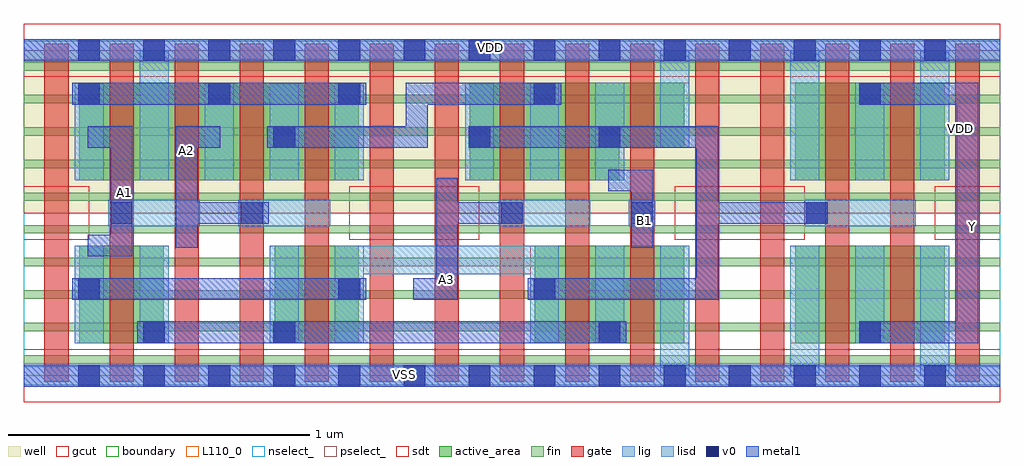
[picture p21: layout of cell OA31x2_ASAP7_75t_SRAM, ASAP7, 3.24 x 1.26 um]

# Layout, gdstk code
import gdstk
lib = gdstk.Library(unit=1e-6, precision=2.5e-10)
def R(c, l, rs):  # rectangles x0, y0, x1, y1
    for r in rs: c.add(gdstk.rectangle(r[:2], r[2:], *l))
def A(c, l, x, y, w, h, nx, ny, dx, dy):  # array of equal rectangles
    R(c, l, [(x+i*dx, y+j*dy, x+i*dx+w, y+j*dy+h) for i in range(nx) for j in range(ny)])
def P(c, l, *ps):  # polygons
    for p in ps: c.add(gdstk.Polygon(p, *l))
well = (1, 0)
fin = (2, 0)
gate = (7, 0)
gcut = (10, 0)
active_area = (11, 0)
nselect_ = (12, 0)
pselect_ = (13, 0)
lig = (16, 0)
lisd = (17, 0)
v0 = (18, 0)
metal1 = (19, 0)
sdt = (88, 0)
boundary = (100, 0)
L110_0 = (110, 0)

oa31x2_asap7_75t_sram = lib.new_cell('OA31x2_ASAP7_75t_SRAM')
R(oa31x2_asap7_75t_sram, well, [(0,0.54,3.24,1.08)])
A(oa31x2_asap7_75t_sram, fin, 0, 0.04, 3.24, 0.028, 1, 10, 0, 0.108)
A(oa31x2_asap7_75t_sram, gate, 0.068, -0.02, 0.08, 1.122, 15, 1, 0.216, 0)
R(oa31x2_asap7_75t_sram, gcut, [(0,-0.088,3.24,0.088), (0,0.452,0.216,0.628), (1.08,0.452,1.512,0.628), (2.16,0.452,2.592,0.628), (3.024,0.452,3.24,0.628), (0,0.992,3.24,1.168)])
R(oa31x2_asap7_75t_sram, active_area, [(0.184,0.108,0.464,0.432), (0.832,0.108,1.112,0.432), (1.696,0.108,2.192,0.432), (2.56,0.108,3.056,0.432), (0.184,0.648,1.112,0.972), (2.56,0.648,3.056,0.972)])
P(oa31x2_asap7_75t_sram, active_area, [(2.192,0.972),(1.48,0.972),(1.48,0.648),(1.976,0.648),(1.976,0.756),(2.192,0.756)])
R(oa31x2_asap7_75t_sram, nselect_, [(0,0,3.24,0.54)])
R(oa31x2_asap7_75t_sram, pselect_, [(0,0.54,3.24,1.08)])
R(oa31x2_asap7_75t_sram, lig, [(0,-0.032,3.24,0.032), (0.28,0.496,0.584,0.584), (0.712,0.496,1.016,0.584), (1.576,0.496,1.88,0.584), (2.008,0.496,2.096,0.584), (2.592,0.496,2.96,0.584), (0,1.048,3.24,1.112)])
A(oa31x2_asap7_75t_sram, lisd, 2.112, 0, 0.096, 0.432, 3, 1, 0.432, 0)
A(oa31x2_asap7_75t_sram, lisd, 0.6, 0.648, 0.096, 0.324, 3, 1, 0.216, 0)
A(oa31x2_asap7_75t_sram, lisd, 1.464, 0.648, 0.096, 0.324, 3, 1, 0.216, 0)
R(oa31x2_asap7_75t_sram, lisd, [(0.168,0.108,0.264,0.432), (0.384,0.108,0.48,0.432), (0.816,0.108,0.912,0.432), (1.896,0.108,1.992,0.432), (2.76,0.108,2.856,0.432), (0.168,0.648,0.264,0.972), (0.384,0.648,0.48,1.08), (2.544,0.648,2.64,1.08), (2.76,0.648,2.856,0.972), (2.976,0.648,3.072,1.08), (2.112,0.756,2.208,1.08)])
P(oa31x2_asap7_75t_sram, lisd, [(1.776,0.432),(1.032,0.432),(1.032,0.108),(1.128,0.108),(1.128,0.336),(1.68,0.336),(1.68,0.108),(1.776,0.108)])
A(oa31x2_asap7_75t_sram, v0, 0.18, -0.036, 0.072, 0.072, 14, 2, 0.216, 1.08)
A(oa31x2_asap7_75t_sram, v0, 0.18, 0.9, 0.072, 0.072, 3, 1, 0.432, 0)
R(oa31x2_asap7_75t_sram, v0, [(0.396,0.108,0.468,0.18), (0.828,0.108,0.9,0.18), (1.908,0.108,1.98,0.18), (2.772,0.108,2.844,0.18), (0.18,0.252,0.252,0.324), (1.044,0.252,1.116,0.324), (1.692,0.252,1.764,0.324), (0.288,0.504,0.36,0.576), (0.72,0.504,0.792,0.576), (1.584,0.504,1.656,0.576), (2.016,0.504,2.088,0.576), (2.596,0.504,2.668,0.576), (0.828,0.756,0.9,0.828), (1.476,0.756,1.548,0.828), (1.908,0.756,1.98,0.828), (1.692,0.9,1.764,0.972), (2.772,0.9,2.844,0.972)])
R(oa31x2_asap7_75t_sram, metal1, [(0,-0.036,3.24,0.036), (0.376,0.108,2,0.18), (0.16,0.252,1.136,0.324), (0.16,0.9,1.136,0.972), (0,1.044,3.24,1.116)])
P(oa31x2_asap7_75t_sram, metal1, [(0.36,0.828),(0.212,0.828),(0.212,0.756),(0.288,0.756),(0.288,0.468),(0.212,0.468),(0.212,0.396),(0.36,0.396)],
  [(0.812,0.576),(0.576,0.576),(0.576,0.756),(0.652,0.756),(0.652,0.828),(0.504,0.828),(0.504,0.424),(0.576,0.424),(0.576,0.504),(0.812,0.504)],
  [(1.656,0.576),(1.44,0.576),(1.44,0.656),(1.368,0.656),(1.368,0.324),(1.292,0.324),(1.292,0.252),(1.44,0.252),(1.44,0.504),(1.656,0.504)],
  [(1.784,0.972),(1.268,0.972),(1.268,0.828),(0.808,0.828),(0.808,0.756),(1.34,0.756),(1.34,0.9),(1.784,0.9)],
  [(2.088,0.684),(1.94,0.684),(1.94,0.612),(2.016,0.612),(2.016,0.424),(2.088,0.424)],
  [(2.668,0.576),(2.304,0.576),(2.304,0.828),(1.476,0.828),(1.476,0.756),(2.232,0.756),(2.232,0.324),(1.672,0.324),(1.672,0.252),(2.304,0.252),(2.304,0.504),(2.668,0.504)],
  [(3.168,0.972),(2.772,0.972),(2.772,0.9),(3.096,0.9),(3.096,0.18),(2.772,0.18),(2.772,0.108),(3.168,0.108)])
A(oa31x2_asap7_75t_sram, sdt, 1.68, 0.108, 0.096, 0.324, 3, 1, 0.216, 0)
A(oa31x2_asap7_75t_sram, sdt, 2.544, 0.108, 0.096, 0.324, 3, 2, 0.216, 0.54)
A(oa31x2_asap7_75t_sram, sdt, 0.168, 0.648, 0.096, 0.324, 5, 1, 0.216, 0)
A(oa31x2_asap7_75t_sram, sdt, 1.464, 0.648, 0.096, 0.324, 3, 1, 0.216, 0)
R(oa31x2_asap7_75t_sram, sdt, [(0.168,0.108,0.264,0.432), (0.384,0.108,0.48,0.432), (0.816,0.108,0.912,0.432), (1.032,0.108,1.128,0.432), (2.112,0.756,2.208,0.972)])
R(oa31x2_asap7_75t_sram, boundary, [(0,0,3.24,1.08)])
R(oa31x2_asap7_75t_sram, L110_0, [(0,0,3.24,1.08)])
oa31x2_asap7_75t_sram.add(gdstk.Label('VSS', (3.384,0.816), layer=3, texttype=251))
oa31x2_asap7_75t_sram.add(gdstk.Label('VDD', (3.108,0.82), layer=1, texttype=251))
oa31x2_asap7_75t_sram.add(gdstk.Label('A3', (1.404,0.32), layer=19, texttype=251))
oa31x2_asap7_75t_sram.add(gdstk.Label('Y', (3.148,0.494), layer=19, texttype=251))
oa31x2_asap7_75t_sram.add(gdstk.Label('VSS', (1.264,0.004), layer=19, texttype=251))
oa31x2_asap7_75t_sram.add(gdstk.Label('VDD', (1.548,1.088), layer=19, texttype=251))
oa31x2_asap7_75t_sram.add(gdstk.Label('A2', (0.54,0.748), layer=19, texttype=251))
oa31x2_asap7_75t_sram.add(gdstk.Label('B1', (2.06,0.516), layer=19, texttype=251))
oa31x2_asap7_75t_sram.add(gdstk.Label('A1', (0.332,0.608), layer=19, texttype=251))

lib.write_gds('OA31x2_ASAP7_75t_SRAM.gds')
